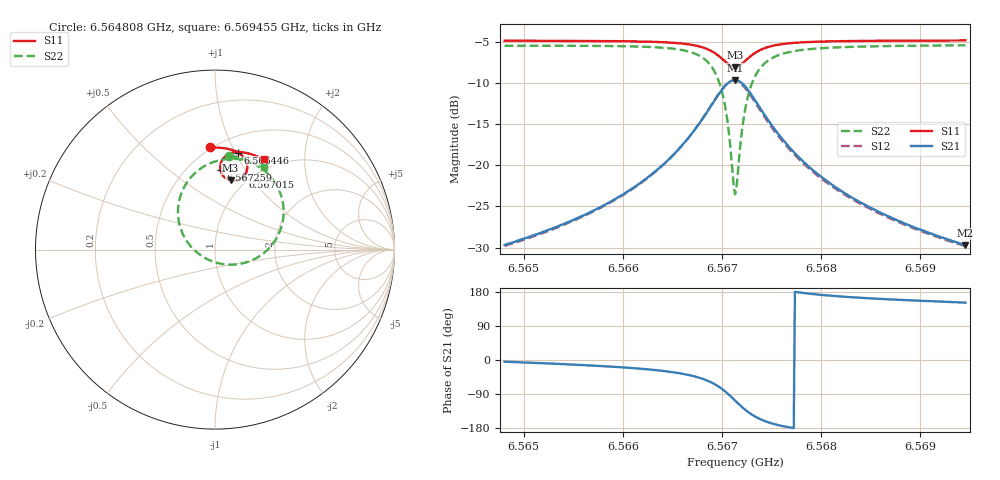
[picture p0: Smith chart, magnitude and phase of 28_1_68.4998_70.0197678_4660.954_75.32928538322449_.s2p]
#  HZ  S  RI  R  50.00
! Rohde & Schwarz Vector Network Analyzer
! Rohde-Schwarz,ZNB20-2Port,1311601062101988,3.16
! Created: UTC 3/20/2024, 4:49:48 PM
! freq[Hz]  re:S11  im:S11  re:S21  im:S21  re:S12  im:S12  re:S22  im:S22
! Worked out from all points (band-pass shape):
!   401 points, 6.564808 GHz to 6.569455 GHz, reference 50 ohm
!   highest |S21| = -9.66 dB at 6.567132 GHz (marker M1); lowest = -29.7 dB at 6.569455 GHz (marker M2)
!   |S21| within 3 dB of the highest: 6.566898 GHz to 6.567363 GHz (464.7 kHz wide, 0.00708 % of centre)
!   lowest |S11| = -8.1 dB at 6.567132 GHz (marker M3), VSWR 2.30, Z = 43 + j39.2 ohm
!   |S11| at or under -10 dB: nowhere
!   |S22| runs from -23.5 to -5.4 dB; largest |S21 - S12| = 0.017
!   S11 on the Smith chart (normalised r, x): 6.564808 GHz: 0.49, +0.83; 6.566446 GHz: 0.66, +1.03; 6.567015 GHz: 0.93, +0.93; 6.567259 GHz: 0.71, +0.78; 6.569455 GHz: 0.86, +1.28
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6.5648078e9  -0.0263 0.5689  0.0327 -0.00265  0.0321 -0.00302  0.0786 0.524
6.5655862e9  0.0397 0.5666  0.0477 -0.0114  0.0471 -0.0119  0.1597 0.505
6.5660162e9  0.0803 0.5594  0.0633 -0.0228  0.0623 -0.0235  0.2177 0.4797
6.5663647e9  0.1183 0.5461  0.0848 -0.0444  0.0836 -0.0455  0.2808 0.4354
6.5664461e9  0.1284 0.5408  0.0915 -0.0531  0.0904 -0.0543  0.2989 0.4177
6.5666668e9  0.1578 0.517  0.1135 -0.0943  0.1118 -0.0963  0.3541 0.3371
6.5668411e9  0.1782 0.4771  0.1234 -0.165  0.1201 -0.169  0.3822 0.2006
6.5669457e9  0.1764 0.4365  0.1018 -0.2364  0.0946 -0.2415  0.3435 0.0642
6.5670154e9  0.1578 0.4053  0.0543 -0.2895  0.0428 -0.2933  0.2532 -0.0333
6.5670503e9  0.1407 0.3923  0.0167 -0.3101  0.00257 -0.3117  0.1821 -0.0688
6.5671083e9  0.103 0.3829  -0.062 -0.3212  -0.0778 -0.3165  0.0377 -0.0799
6.5671316e9  0.0867 0.3851  -0.095 -0.3148  -0.1105 -0.307  -0.0208 -0.0633
6.5671548e9  0.0713 0.3905  -0.126 -0.3016  -0.1399 -0.2915  -0.074 -0.0356
6.5672129e9  0.042 0.4162  -0.185 -0.2487  -0.1932 -0.2344  -0.1693 0.0672
6.5672594e9  0.031 0.4417  -0.2085 -0.1982  -0.2122 -0.1837  -0.202 0.1595
6.5673523e9  0.0342 0.4863  -0.2098 -0.1125  -0.2079 -0.1013  -0.1891 0.3091
6.5674918e9  0.0616 0.5229  -0.1733 -0.0417  -0.1694 -0.0356  -0.11 0.4276
6.5676544e9  0.0936 0.539  -0.1334 -0.00799  -0.1299 -0.00476  -0.0271 0.481
6.5679101e9  0.1324 0.544  -0.0937 0.00967  -0.0913 0.0111  0.0603 0.504
6.5682586e9  0.1722 0.5394  -0.0647 0.0156  -0.0631 0.0163  0.1343 0.5035
6.5686885e9  0.2119 0.5283  -0.0458 0.0166  -0.0446 0.0169  0.1949 0.491
6.5694554e9  0.2717 0.5023  -0.0287 0.0157  -0.0281 0.0158  0.2707 0.4605
